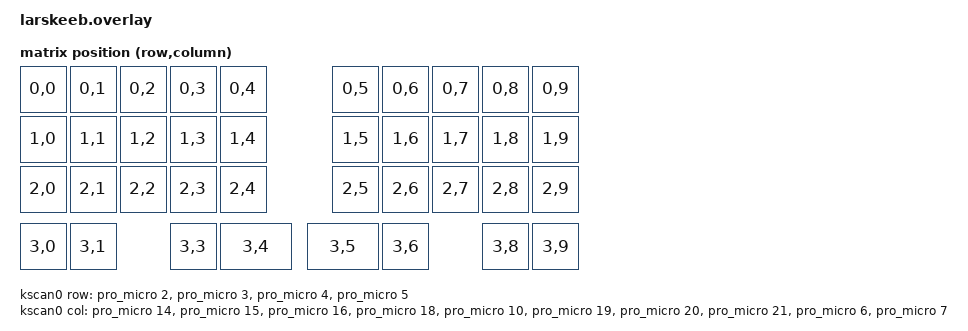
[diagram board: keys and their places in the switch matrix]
#include <dt-bindings/zmk/matrix_transform.h>
#include <physical_layouts.dtsi>

/ {
    kscan0: kscan0 {
        compatible = "zmk,kscan-gpio-matrix";
        diode-direction = "col2row";
        wakeup-source;

        col-gpios
            = <&pro_micro 14 GPIO_ACTIVE_HIGH>
            , <&pro_micro 15 GPIO_ACTIVE_HIGH>
            , <&pro_micro 16 GPIO_ACTIVE_HIGH>
            , <&pro_micro 18 GPIO_ACTIVE_HIGH>
            , <&pro_micro 10 GPIO_ACTIVE_HIGH>
            , <&pro_micro 19 GPIO_ACTIVE_HIGH>
            , <&pro_micro 20 GPIO_ACTIVE_HIGH>
            , <&pro_micro 21 GPIO_ACTIVE_HIGH>
            , <&pro_micro 6 GPIO_ACTIVE_HIGH>
            , <&pro_micro 7 GPIO_ACTIVE_HIGH>
            ;

        row-gpios
            = <&pro_micro 2 (GPIO_ACTIVE_HIGH | GPIO_PULL_DOWN)>
            , <&pro_micro 3 (GPIO_ACTIVE_HIGH | GPIO_PULL_DOWN)>
            , <&pro_micro 4 (GPIO_ACTIVE_HIGH | GPIO_PULL_DOWN)>
            , <&pro_micro 5 (GPIO_ACTIVE_HIGH | GPIO_PULL_DOWN)>
            ;
    };

    default_transform: keymap_transform0 {
        compatible = "zmk,matrix-transform";
        columns = <10>; // Length of the "col-gpios" array
        rows = <4>; // Length of the "row-gpios" array
        map = <
            // Creating the correct mapping from matrix positions to layout
            RC(0,0) RC(0,1) RC(0,2) RC(0,3) RC(0,4) RC(0,5) RC(0,6) RC(0,7) RC(0,8) RC(0,9)
            RC(1,0) RC(1,1) RC(1,2) RC(1,3) RC(1,4) RC(1,5) RC(1,6) RC(1,7) RC(1,8) RC(1,9)
            RC(2,0) RC(2,1) RC(2,2) RC(2,3) RC(2,4) RC(2,5) RC(2,6) RC(2,7) RC(2,8) RC(2,9)
            RC(3,0) RC(3,1)         RC(3,3) RC(3,4) RC(3,5) RC(3,6)         RC(3,8) RC(3,9)
        >;
    };

    default_layout: default_layout {
        compatible = "zmk,physical-layout";
        display-name = "Default";
        transform = <&default_transform>;
        kscan = <&kscan0>;
        keys  //                     w   h    x    y  rot   rx   ry
            = <&key_physical_attrs 100 100    0    0    0    0    0>
            , <&key_physical_attrs 100 100  100    0    0    0    0>
            , <&key_physical_attrs 100 100  200    0    0    0    0>
            , <&key_physical_attrs 100 100  300    0    0    0    0>
            , <&key_physical_attrs 100 100  400    0    0    0    0>
            , <&key_physical_attrs 100 100  625    0    0    0    0>
            , <&key_physical_attrs 100 100  725    0    0    0    0>
            , <&key_physical_attrs 100 100  825    0    0    0    0>
            , <&key_physical_attrs 100 100  925    0    0    0    0>
            , <&key_physical_attrs 100 100 1025    0    0    0    0>

            , <&key_physical_attrs 100 100    0  100    0    0    0>
            , <&key_physical_attrs 100 100  100  100    0    0    0>
            , <&key_physical_attrs 100 100  200  100    0    0    0>
            , <&key_physical_attrs 100 100  300  100    0    0    0>
            , <&key_physical_attrs 100 100  400  100    0    0    0>
            , <&key_physical_attrs 100 100  625  100    0    0    0>
            , <&key_physical_attrs 100 100  725  100    0    0    0>
            , <&key_physical_attrs 100 100  825  100    0    0    0>
            , <&key_physical_attrs 100 100  925  100    0    0    0>
            , <&key_physical_attrs 100 100 1025  100    0    0    0>

            , <&key_physical_attrs 100 100    0  200    0    0    0>
            , <&key_physical_attrs 100 100  100  200    0    0    0>
            , <&key_physical_attrs 100 100  200  200    0    0    0>
            , <&key_physical_attrs 100 100  300  200    0    0    0>
            , <&key_physical_attrs 100 100  400  200    0    0    0>
            , <&key_physical_attrs 100 100  625  200    0    0    0>
            , <&key_physical_attrs 100 100  725  200    0    0    0>
            , <&key_physical_attrs 100 100  825  200    0    0    0>
            , <&key_physical_attrs 100 100  925  200    0    0    0>
            , <&key_physical_attrs 100 100 1025  200    0    0    0>

            , <&key_physical_attrs 100 100    0  315    0    0    0>
            , <&key_physical_attrs 100 100  100  315    0    0    0>

            , <&key_physical_attrs 100 100  300  315    0    0    0>
            , <&key_physical_attrs 150 100  400  315    0    0    0>
            , <&key_physical_attrs 150 100  575  315    0    0    0>
            , <&key_physical_attrs 100 100  725  315    0    0    0>

            , <&key_physical_attrs 100 100  925  315    0    0    0>
            , <&key_physical_attrs 100 100 1025  315    0    0    0>
            ;
    };
};
